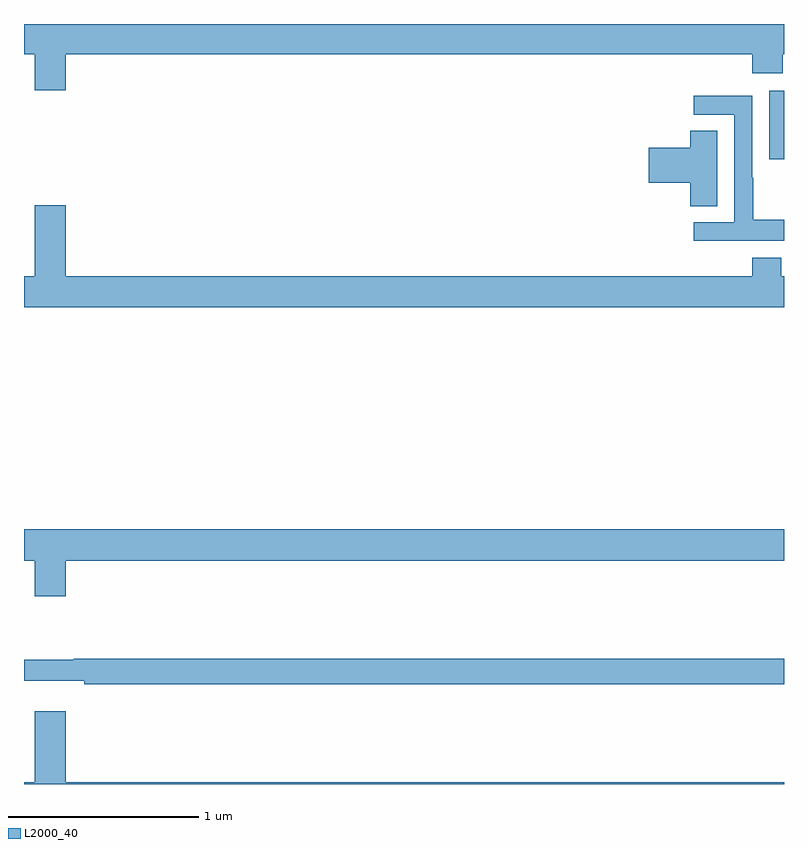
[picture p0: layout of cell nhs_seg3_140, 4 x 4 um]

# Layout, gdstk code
import gdstk
lib = gdstk.Library(unit=1e-6, precision=1e-09)
def R(c, l, rs):  # rectangles x0, y0, x1, y1
    for r in rs: c.add(gdstk.rectangle(r[:2], r[2:], *l))
def P(c, l, *ps):  # polygons
    for p in ps: c.add(gdstk.Polygon(p, *l))
L2000_40 = (2000, 40)

nhs_seg3_140 = lib.new_cell('nhs_seg3_140')
R(nhs_seg3_140, L2000_40, [(120.923,709.689,121,710.05)])
P(nhs_seg3_140, L2000_40, [(117.22,710.24),(120.833,710.24),(120.833,710.141),(120.993,710.141),(120.993,710.24),(121,710.24),(121,710.4),(117,710.4),(117,710.24),(117.056,710.24),(117.056,710.052),(117.22,710.052)],
  [(121,709.369),(120.837,709.369),(120.837,709.592),(120.834,709.592),(120.834,710.022),(120.525,710.022),(120.525,709.923),(120.738,709.923),(120.738,709.356),(120.525,709.356),(120.525,709.26),(121,709.26)],
  [(120.649,709.838),(120.506,709.838),(120.506,709.748),(120.288,709.748),(120.288,709.565),(120.506,709.565),(120.506,709.441),(120.649,709.441)],
  [(121,709.072),(120.985,709.072),(120.985,709.171),(120.833,709.171),(120.833,709.072),(117.22,709.072),(117.22,709.447),(117.056,709.447),(117.056,709.072),(117,709.072),(117,708.908),(121,708.908)],
  [(117.22,707.576),(121,707.576),(121,707.74),(117,707.74),(117,707.576),(117.056,707.576),(117.056,707.388),(117.22,707.388)],
  [(121,707.06),(117.262,707.06),(117.262,707.053),(117,707.053),(117,706.943),(117.316,706.943),(117.316,706.924),(121,706.924)],
  [(121,706.408),(117.22,706.408),(117.22,706.783),(117.056,706.783),(117.056,706.408),(117,706.408),(117,706.4),(121,706.4)])

lib.write_gds('nhs_seg3_140.gds')
